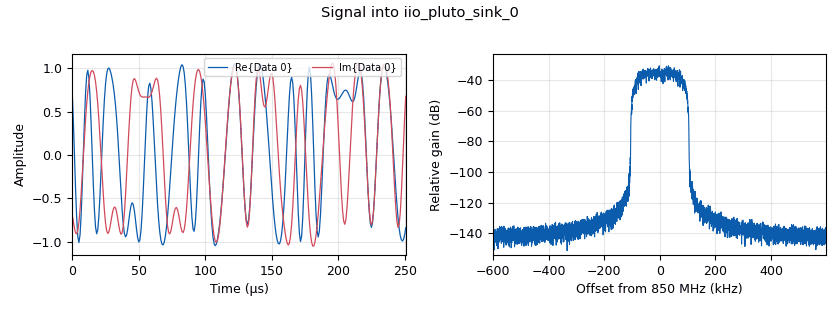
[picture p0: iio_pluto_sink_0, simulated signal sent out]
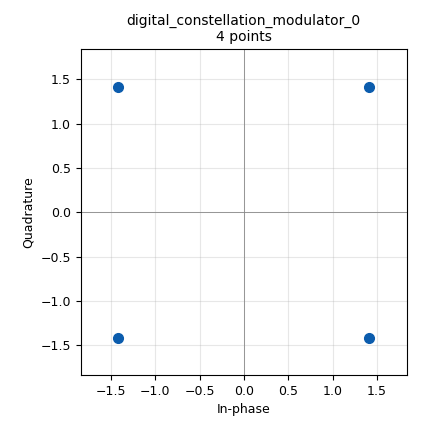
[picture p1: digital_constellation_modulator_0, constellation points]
options:
  parameters:
    generate_options: qt_gui
    id: coarse_freq_estimation_correction_5_3
    output_language: python
    title: Coarse frequecy estimation and correction
  states: {}

blocks:
- name: my_const_qpsk
  id: variable_constellation
  parameters:
    precision: '8'
    type: qpsk
  states: {}
- name: nfilts
  id: variable
  parameters:
    value: '16'
  states: {}
- name: probe_fft_bin
  id: variable_function_probe
  parameters:
    block_id: fft_bin
    function_name: level
    poll_rate: '5'
    value: '0'
  states: {}
- name: rrc_taps_2
  id: variable
  parameters:
    value: firdes.root_raised_cosine(nfilts, nfilts * sps, 1.0, 0.4, int(5 * sps * nfilts))
  states: {}
- name: samp_rate
  id: variable
  parameters:
    value: 1.2e6
  states: {}
- name: sps
  id: variable
  parameters:
    value: '8'
  states: {}
- name: analog_noise_source_x_0
  id: analog_noise_source_x
  parameters:
    amp: '0.15'
    noise_type: analog.GR_GAUSSIAN
    seed: '0'
    type: complex
  states: {}
- name: analog_random_source_x_0
  id: analog_random_source_x
  parameters:
    max: '255'
    min: '0'
    num_samps: '10000'
    repeat: 'True'
    type: byte
  states: {}
- name: blocks_add_xx_0
  id: blocks_add_xx
  parameters:
    type: complex
  states: {}
- name: blocks_argmax_xx_1
  id: blocks_argmax_xx
  parameters:
    num_inputs: '1'
    type: float
    vlen: '512'
  states: {}
- name: blocks_complex_to_mag_squared_0
  id: blocks_complex_to_mag_squared
  parameters:
    vlen: '512'
  states: {}
- name: blocks_int_to_float_0
  id: blocks_int_to_float
  parameters:
    scale: '1'
  states: {}
- name: blocks_multiply_const_vxx_0
  id: blocks_multiply_const_vxx
  parameters:
    const: '0.5'
    type: complex
  states: {}
- name: blocks_multiply_xx_0
  id: blocks_multiply_xx
  parameters:
    type: complex
  states: {}
- name: blocks_multiply_xx_1
  id: blocks_multiply_xx
  parameters:
    type: complex
  states: {}
- name: blocks_nlog10_ff_0
  id: blocks_nlog10_ff
  parameters:
    k: '0'
    n: '10'
    vlen: '512'
  states: {}
- name: blocks_null_sink_0
  id: blocks_null_sink
  parameters:
    type: short
  states: {}
- name: blocks_short_to_float_0
  id: blocks_short_to_float
  parameters:
    scale: '1'
  states: {}
- name: blocks_stream_to_vector_0
  id: blocks_stream_to_vector
  parameters:
    num_items: '512'
    type: complex
  states: {}
- name: digital_constellation_modulator_0
  id: digital_constellation_modulator
  parameters:
    constellation: my_const_qpsk
    differential: 'True'
    excess_bw: '0.4'
    samples_per_symbol: sps
  states: {}
- name: epy_block_0
  id: epy_block
  parameters:
    Fft_Len: '512'
    Previous_Freq: '0.0'
    Samp_Rate: '480000'
    _source_code: |
      import numpy as np
      from gnuradio import gr

      class blk(gr.sync_block):
          def __init__(self, Fft_Len=512, Samp_Rate=300000, Previous_Freq=0.0):
              gr.sync_block.__init__(
                  self,
                  name='Carrier Offset Calculation',
                  in_sig=[np.float32],  # Receives the float index from 'Short to Float'
                  out_sig=[np.int32]  # Outputs the calculated frequency offset in Hz
              )
              self.Fft_Len = Fft_Len
              self.Samp_Rate = Samp_Rate
              self.Previous_Freq = Previous_Freq

          def work(self, input_items, output_items):
              in0 = input_items[0]
              out = output_items[0]
              
              for i in range(len(in0)):
                  bin_index = in0[i]
                  
                  # Shift the FFT bins so index 0 centers around 0 Hz (handling negative frequencies)
                  if bin_index >= self.Fft_Len / 2:
                      bin_index -= self.Fft_Len
                  
                  # 1. Convert bin index to the multiplied frequency domain
                  freq_in_multiplied_domain = (bin_index * self.Samp_Rate) / self.Fft_Len
                  
                  # 2. Divide by 4 because the prior x4 Multiply blocks magnified the error 4x
                  true_hardware_offset = freq_in_multiplied_domain / 4.0
                  
                  out[i] = ınt(true_hardware_offset)
                  
              return len(out)
  states: {}
- name: fft_bin
  id: blocks_probe_signal_x
  parameters:
    type: int
  states: {}
- name: fft_vxx_0
  id: fft_vxx
  parameters:
    fft_size: '512'
    forward: 'True'
    shift: 'True'
    type: complex
    window: window.blackmanharris(512)
  states: {}
- name: iio_pluto_sink_0
  id: iio_pluto_sink
  parameters:
    attenuation1: '10.0'
    bandwidth: '20000000'
    buffer_size: '32768'
    cyclic: 'False'
    filter_source: '''Auto'''
    frequency: int(850e6)
    samplerate: int(samp_rate)
    type: fc32
    uri: usb:0.2.5
  states: {}
- name: iio_pluto_source_0
  id: iio_pluto_source
  parameters:
    bandwidth: '20000000'
    bbdc: 'True'
    buffer_size: '32768'
    filter_source: '''Auto'''
    frequency: int(850e6)
    gain1: '''manual'''
    manual_gain1: '30'
    quadrature: 'True'
    rfdc: 'True'
    samplerate: int(samp_rate)
    type: fc32
    uri: usb:0.2.5
  states: {}
- name: qtgui_freq_sink_x_0
  id: qtgui_freq_sink_x
  parameters:
    bw: samp_rate
    fc: '0'
    fftsize: '1024'
    type: complex
  states: {}
- name: qtgui_number_sink_0
  id: qtgui_number_sink
  parameters:
    autoscale: 'True'
    graph_type: qtgui.NUM_GRAPH_HORIZ
    max: '10000'
    min: '-10000'
    name: '"FFT Val"'
    type: float
  states: {}
- name: rational_resampler_xxx_0
  id: rational_resampler_xxx
  parameters:
    decim: '5'
    interp: '2'
    type: ccc
  states: {}
- name: virtual_sink_0
  id: virtual_sink
  parameters:
    stream_id: to_cfo_calc
  states: {}
- name: virtual_sink_1
  id: virtual_sink
  parameters:
    stream_id: cfo_calc
  states: {}
- name: virtual_source_0
  id: virtual_source
  parameters:
    stream_id: to_cfo_calc
  states: {}
- name: virtual_source_1
  id: virtual_source
  parameters:
    stream_id: cfo_calc
  states: {}

connections:
- [analog_noise_source_x_0, '0', blocks_add_xx_0, '1']
- [analog_random_source_x_0, '0', digital_constellation_modulator_0, '0']
- [blocks_add_xx_0, '0', virtual_sink_0, '0']
- [blocks_argmax_xx_1, '0', blocks_short_to_float_0, '0']
- [blocks_argmax_xx_1, '1', blocks_null_sink_0, '0']
- [blocks_complex_to_mag_squared_0, '0', blocks_nlog10_ff_0, '0']
- [blocks_int_to_float_0, '0', qtgui_number_sink_0, '0']
- [blocks_multiply_const_vxx_0, '0', iio_pluto_sink_0, '0']
- [blocks_multiply_xx_0, '0', rational_resampler_xxx_0, '0']
- [blocks_multiply_xx_1, '0', blocks_multiply_xx_0, '0']
- [blocks_multiply_xx_1, '0', blocks_multiply_xx_0, '1']
- [blocks_nlog10_ff_0, '0', blocks_argmax_xx_1, '0']
- [blocks_short_to_float_0, '0', epy_block_0, '0']
- [blocks_stream_to_vector_0, '0', fft_vxx_0, '0']
- [digital_constellation_modulator_0, '0', blocks_multiply_const_vxx_0, '0']
- [epy_block_0, '0', blocks_int_to_float_0, '0']
- [epy_block_0, '0', fft_bin, '0']
- [fft_vxx_0, '0', virtual_sink_1, '0']
- [iio_pluto_source_0, '0', blocks_add_xx_0, '0']
- [rational_resampler_xxx_0, '0', blocks_stream_to_vector_0, '0']
- [rational_resampler_xxx_0, '0', qtgui_freq_sink_x_0, '0']
- [virtual_source_0, '0', blocks_multiply_xx_1, '0']
- [virtual_source_0, '0', blocks_multiply_xx_1, '1']
- [virtual_source_1, '0', blocks_complex_to_mag_squared_0, '0']

metadata:
  file_format: 1
  grc_version: 3.10.12.0
